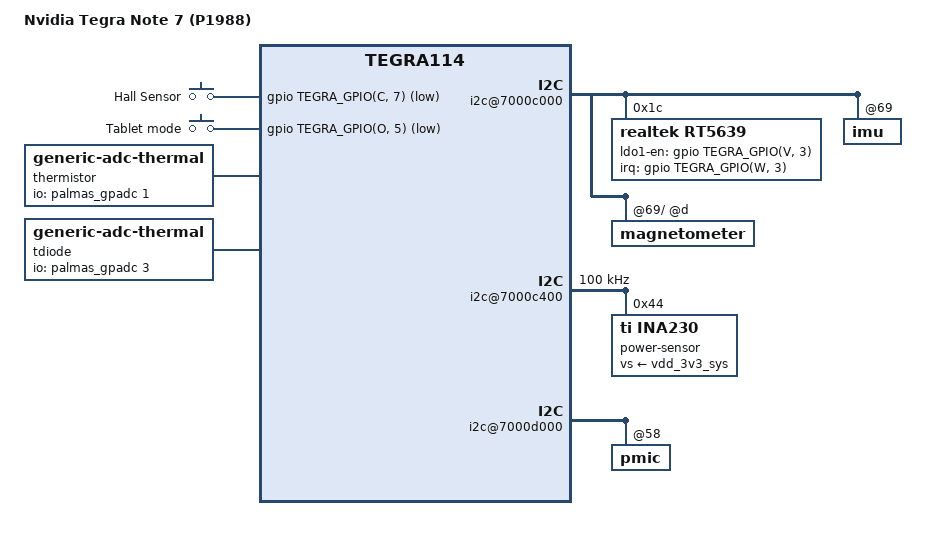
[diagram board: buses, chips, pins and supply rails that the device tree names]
// SPDX-License-Identifier: GPL-2.0
/dts-v1/;

#include "tegra114-nvidia-tegratab-common.dtsi"

/ {
	model = "Nvidia Tegra Note 7 (P1988)";

	serial@70006200 {
		bluetooth {
			clocks = <&palmas_clk32k>;
			clock-names = "ext_clock";

			enable-gpios = <&gpio TEGRA_GPIO(R, 1) GPIO_ACTIVE_HIGH>;
		};
	};

	i2c@7000c000 {
		rt5639: audio-codec@1c {
			compatible = "realtek,rt5639";
			reg = <0x1c>;

			interrupt-parent = <&gpio>;
			interrupts = <TEGRA_GPIO(W, 3) IRQ_TYPE_LEVEL_HIGH>;

			realtek,ldo1-en-gpios =
				<&gpio TEGRA_GPIO(V, 3) GPIO_ACTIVE_HIGH>;

// codec 1/2/3 en
//#define TEGRA_GPIO_CODEC1_EN	TEGRA_GPIO_PP3
//#define TEGRA_GPIO_CODEC2_EN	TEGRA_GPIO_PP1
//#define TEGRA_GPIO_CODEC3_EN	TEGRA_GPIO_PV0

			clocks = <&tegra_pmc TEGRA_PMC_CLK_OUT_1>;
			clock-names = "mclk";
		};

		imu@69 {
			mount-matrix =  "0", "-1",  "0",
					"1",  "0",  "0",
					"0",  "0",  "1";

			i2c-gate {
				magnetometer@d {
					mount-matrix =  "0",  "1",  "0",
							"1",  "0",  "0",
							"0",  "0", "-1";
				};
			};
		};

	};

	i2c@7000c400 {
		status = "okay";
		clock-frequency = <100000>;

		power-sensor@44 {
			compatible = "ti,ina230";
			reg = <0x44>;

			shunt-resistor = <5000>;

			vs-supply = <&vdd_3v3_sys>;
			#io-channel-cells = <1>;
		};
	};

	i2c@7000d000 {
		pmic@58 {
			palmas_gpadc: adc {
				compatible = "ti,palmas-gpadc";
				interrupts = <18 IRQ_TYPE_NONE>,
					     <16 IRQ_TYPE_NONE>,
					     <17 IRQ_TYPE_NONE>;

				ti,channel0-current-microamp = <5>;
				ti,channel3-current-microamp = <400>;
				ti,enable-extended-delay;

				#io-channel-cells = <1>;
			};

			palmas_clk32k: palmas_clk32kg@0 {
				compatible = "ti,palmas-clk32kg";
				#clock-cells = <0>;
			};

			pmic {
				regulators {
					ldo4 {
						regulator-boot-on;
					};
				};
			};
		};
	};

	extcon-keys {
		compatible = "gpio-keys";

		switch-hall-sensor {
			label = "Hall Sensor";
			gpios = <&gpio TEGRA_GPIO(C, 7) GPIO_ACTIVE_LOW>;
			linux,code = <SW_LID>;
			wakeup-source;
		};

		switch-tablet-mode {
			label = "Tablet mode";
			gpios = <&gpio TEGRA_GPIO(O, 5) GPIO_ACTIVE_LOW>;
			linux,code = <SW_TABLET_MODE>;
			wakeup-source;
		};
	};

	gpio-keys {
		key-volume-down {
			label = "Volume Down";
			gpios = <&gpio TEGRA_GPIO(Q, 2) GPIO_ACTIVE_LOW>;
			linux,code = <KEY_VOLUMEDOWN>;
			debounce-interval = <30>;
		};
	};

	pwrseq-wifi {
		compatible = "mmc-pwrseq-simple";

		clocks = <&palmas_clk32k>;
		clock-names = "ext_clock";
	};

	regulator-gyro {
		gpio = <&gpio TEGRA_GPIO(R, 0) GPIO_ACTIVE_HIGH>;
		enable-active-high;
	};

	regulator-hdmi-pll {
		gpio = <&gpio TEGRA_GPIO(O, 6) GPIO_ACTIVE_HIGH>;
		enable-active-high;
	};

	sound {
		compatible = "nvidia,tegra-audio-rt5639-tegratab",
			     "nvidia,tegra-audio-rt5640";
		nvidia,model = "Nvidia Tegra Note 7 RT5639";

		nvidia,audio-codec = <&rt5639>;
	};

	thermistor: thermal-sensor-thermistor {
		compatible = "generic-adc-thermal";
		#thermal-sensor-cells = <0>;

		io-channels = <&palmas_gpadc 1>;
		io-channel-names = "sensor-channel";

		temperature-lookup-table = <
			(-40000) 2726  (-35000) 2708  (-30000) 2683  (-25000) 2649
			(-20000) 2605  (-15000) 2547  (-10000) 2475   (-5000) 2386
			       0 2279      5000 2154     10000 2012     15000 1857
			   20000 1691     25000 1521     30000 1351     35000 1187
			   40000 1032     45000  889     50000  761     55000  648
			   60000  549     65000  464     70000  392     75000  330
			   80000  279     85000  235     90000  199     95000  168
			  100000  143    105000  121    110000  103    115000   88
			  120000   76    125000   65 >;
	};

	tdiode: thermal-sensor-tdiode {
		compatible = "generic-adc-thermal";
		#thermal-sensor-cells = <0>;

		io-channels = <&palmas_gpadc 3>;
		io-channel-names = "sensor-channel";
	};

	thermal-zones {
		thermistor-thermal {
			polling-delay-passive = <1100>; /* milliseconds */
			polling-delay = <15000>; /* milliseconds */

			thermal-sensors = <&thermistor>;

// shutdown at 78C

			trips {
				thermistor_trip: thermistor-alert {
					temperature = <60000>;
					hysteresis = <2000>;
					type = "passive";
				};
			};

			cooling-maps {
				map-thermistor {
					trip = <&thermistor_trip>;
					cooling-device = <&cpu0 THERMAL_NO_LIMIT THERMAL_NO_LIMIT>,
							 <&cpu1 THERMAL_NO_LIMIT THERMAL_NO_LIMIT>,
							 <&cpu2 THERMAL_NO_LIMIT THERMAL_NO_LIMIT>,
							 <&cpu3 THERMAL_NO_LIMIT THERMAL_NO_LIMIT>;
				};
			};
		};

		tdiode-thermal {
			polling-delay-passive = <1100>; /* milliseconds */
			polling-delay = <15000>; /* milliseconds */

			thermal-sensors = <&tdiode>;

			trips {
				tdiode_trip: tdiode-alert {
					temperature = <60000>;
					hysteresis = <2000>;
					type = "passive";
				};
			};

			cooling-maps {
				map-tdiode {
					trip = <&tdiode_trip>;
					cooling-device = <&cpu0 THERMAL_NO_LIMIT THERMAL_NO_LIMIT>,
							 <&cpu1 THERMAL_NO_LIMIT THERMAL_NO_LIMIT>,
							 <&cpu2 THERMAL_NO_LIMIT THERMAL_NO_LIMIT>,
							 <&cpu3 THERMAL_NO_LIMIT THERMAL_NO_LIMIT>;
				};
			};
		};
	};
};
